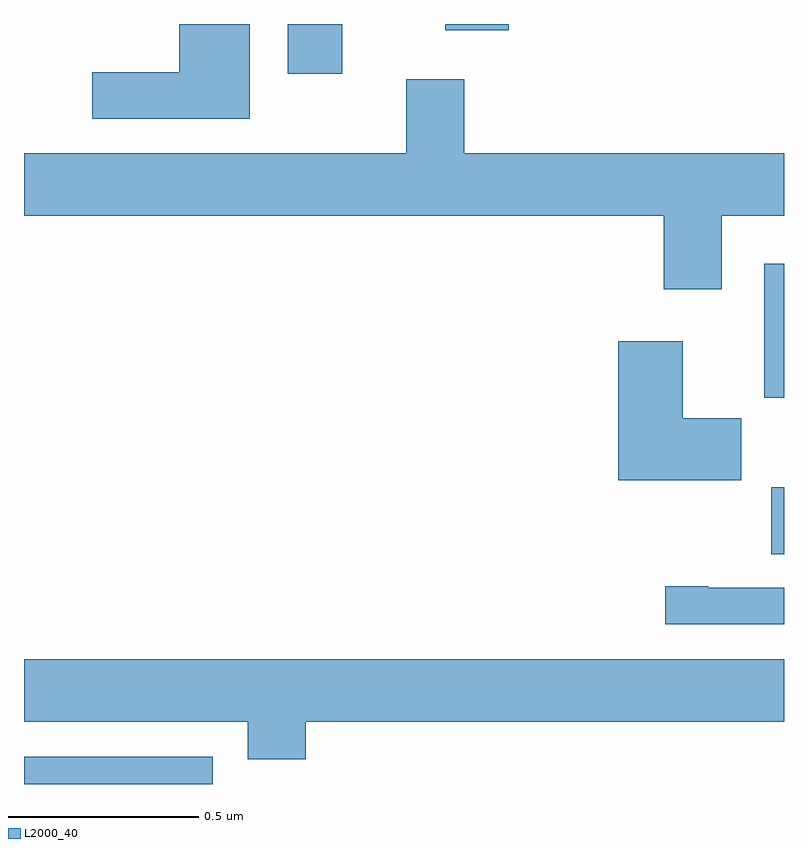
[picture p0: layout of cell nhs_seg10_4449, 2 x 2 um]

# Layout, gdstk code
import gdstk
lib = gdstk.Library(unit=1e-6, precision=1e-09)
def R(c, l, rs):  # rectangles x0, y0, x1, y1
    for r in rs: c.add(gdstk.rectangle(r[:2], r[2:], *l))
def P(c, l, *ps):  # polygons
    for p in ps: c.add(gdstk.Polygon(p, *l))
L2000_40 = (2000, 40)

nhs_seg10_4449 = lib.new_cell('nhs_seg10_4449')
R(nhs_seg10_4449, L2000_40, [(166,1285.5,166.497,1285.572), (167.966,1286.105,168,1286.281), (167.948,1286.516,168,1286.869), (166.694,1287.369,166.837,1287.5), (167.108,1287.483,167.276,1287.5)])
P(nhs_seg10_4449, L2000_40, [(166.594,1287.5),(166.409,1287.5),(166.409,1287.373),(166.179,1287.373),(166.179,1287.251),(166.594,1287.251)],
  [(167.836,1286.996),(168,1286.996),(168,1287.16),(167.159,1287.16),(167.159,1287.355),(167.006,1287.355),(167.006,1287.16),(166,1287.16),(166,1286.996),(167.684,1286.996),(167.684,1286.802),(167.836,1286.802)],
  [(167.887,1286.463),(167.734,1286.463),(167.734,1286.665),(167.564,1286.665),(167.564,1286.3),(167.887,1286.3)],
  [(168,1286.016),(167.8,1286.016),(167.8,1286.021),(167.688,1286.021),(167.688,1285.92),(168,1285.92)],
  [(166.742,1285.664),(168,1285.664),(168,1285.828),(166,1285.828),(166,1285.664),(166.589,1285.664),(166.589,1285.565),(166.742,1285.565)])

lib.write_gds('nhs_seg10_4449.gds')
